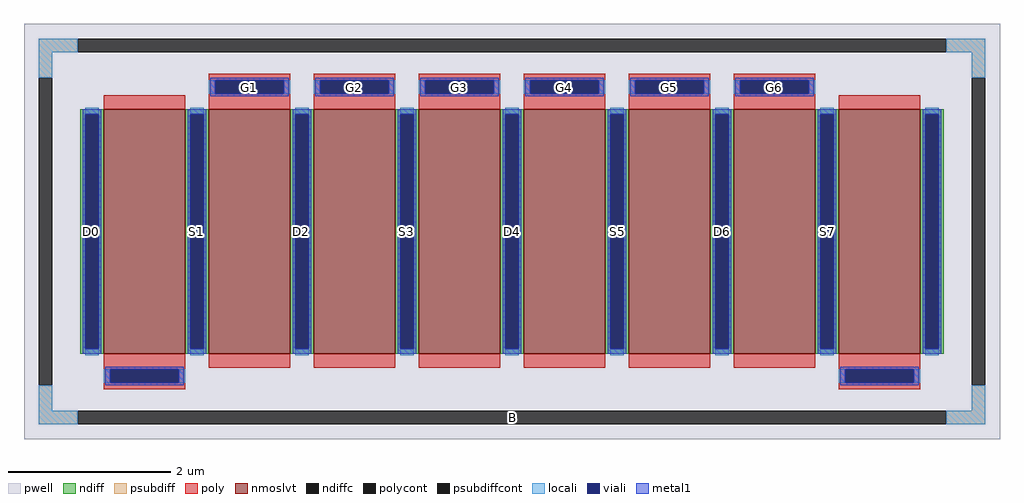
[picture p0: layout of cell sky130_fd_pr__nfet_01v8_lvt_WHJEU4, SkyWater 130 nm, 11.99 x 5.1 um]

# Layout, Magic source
magic
tech sky130A
magscale 1 2
<< pwell >>
rect -1199 -510 1199 510
<< nmoslvt >>
rect -1003 -300 -803 300
rect -745 -300 -545 300
rect -487 -300 -287 300
rect -229 -300 -29 300
rect 29 -300 229 300
rect 287 -300 487 300
rect 545 -300 745 300
rect 803 -300 1003 300
<< ndiff >>
rect -1061 288 -1003 300
rect -1061 -288 -1049 288
rect -1015 -288 -1003 288
rect -1061 -300 -1003 -288
rect -803 288 -745 300
rect -803 -288 -791 288
rect -757 -288 -745 288
rect -803 -300 -745 -288
rect -545 288 -487 300
rect -545 -288 -533 288
rect -499 -288 -487 288
rect -545 -300 -487 -288
rect -287 288 -229 300
rect -287 -288 -275 288
rect -241 -288 -229 288
rect -287 -300 -229 -288
rect -29 288 29 300
rect -29 -288 -17 288
rect 17 -288 29 288
rect -29 -300 29 -288
rect 229 288 287 300
rect 229 -288 241 288
rect 275 -288 287 288
rect 229 -300 287 -288
rect 487 288 545 300
rect 487 -288 499 288
rect 533 -288 545 288
rect 487 -300 545 -288
rect 745 288 803 300
rect 745 -288 757 288
rect 791 -288 803 288
rect 745 -300 803 -288
rect 1003 288 1061 300
rect 1003 -288 1015 288
rect 1049 -288 1061 288
rect 1003 -300 1061 -288
<< ndiffc >>
rect -1049 -288 -1015 288
rect -791 -288 -757 288
rect -533 -288 -499 288
rect -275 -288 -241 288
rect -17 -288 17 288
rect 241 -288 275 288
rect 499 -288 533 288
rect 757 -288 791 288
rect 1015 -288 1049 288
<< psubdiff >>
rect -1163 440 -1067 474
rect 1067 440 1163 474
rect -1163 378 -1129 440
rect 1129 378 1163 440
rect -1163 -440 -1129 -378
rect 1129 -440 1163 -378
rect -1163 -474 -1067 -440
rect 1067 -474 1163 -440
<< psubdiffcont >>
rect -1067 440 1067 474
rect -1163 -378 -1129 378
rect 1129 -378 1163 378
rect -1067 -474 1067 -440
<< poly >>
rect -745 372 -545 388
rect -745 338 -729 372
rect -561 338 -545 372
rect -1003 300 -803 335
rect -745 300 -545 338
rect -487 372 -287 388
rect -487 338 -471 372
rect -303 338 -287 372
rect -487 300 -287 338
rect -229 372 -29 388
rect -229 338 -213 372
rect -45 338 -29 372
rect -229 300 -29 338
rect 29 372 229 388
rect 29 338 45 372
rect 213 338 229 372
rect 29 300 229 338
rect 287 372 487 388
rect 287 338 303 372
rect 471 338 487 372
rect 287 300 487 338
rect 545 372 745 388
rect 545 338 561 372
rect 729 338 745 372
rect 545 300 745 338
rect 803 300 1003 335
rect -1003 -338 -803 -300
rect -745 -335 -545 -300
rect -487 -335 -287 -300
rect -229 -335 -29 -300
rect 29 -335 229 -300
rect 287 -335 487 -300
rect 545 -335 745 -300
rect -1003 -372 -987 -338
rect -819 -372 -803 -338
rect -1003 -388 -803 -372
rect 803 -338 1003 -300
rect 803 -372 819 -338
rect 987 -372 1003 -338
rect 803 -388 1003 -372
<< polycont >>
rect -729 338 -561 372
rect -471 338 -303 372
rect -213 338 -45 372
rect 45 338 213 372
rect 303 338 471 372
rect 561 338 729 372
rect -987 -372 -819 -338
rect 819 -372 987 -338
<< locali >>
rect -1163 440 -1067 474
rect 1067 440 1163 474
rect -1163 378 -1129 440
rect 1129 378 1163 440
rect -745 338 -729 372
rect -561 338 -545 372
rect -487 338 -471 372
rect -303 338 -287 372
rect -229 338 -213 372
rect -45 338 -29 372
rect 29 338 45 372
rect 213 338 229 372
rect 287 338 303 372
rect 471 338 487 372
rect 545 338 561 372
rect 729 338 745 372
rect -1049 288 -1015 304
rect -1049 -304 -1015 -288
rect -791 288 -757 304
rect -791 -304 -757 -288
rect -533 288 -499 304
rect -533 -304 -499 -288
rect -275 288 -241 304
rect -275 -304 -241 -288
rect -17 288 17 304
rect -17 -304 17 -288
rect 241 288 275 304
rect 241 -304 275 -288
rect 499 288 533 304
rect 499 -304 533 -288
rect 757 288 791 304
rect 757 -304 791 -288
rect 1015 288 1049 304
rect 1015 -304 1049 -288
rect -1003 -372 -987 -338
rect -819 -372 -803 -338
rect 803 -372 819 -338
rect 987 -372 1003 -338
rect -1163 -440 -1129 -378
rect 1129 -440 1163 -378
rect -1163 -474 -1067 -440
rect 1067 -474 1163 -440
<< viali >>
rect -729 338 -561 372
rect -471 338 -303 372
rect -213 338 -45 372
rect 45 338 213 372
rect 303 338 471 372
rect 561 338 729 372
rect -1049 -288 -1015 288
rect -791 -288 -757 288
rect -533 -288 -499 288
rect -275 -288 -241 288
rect -17 -288 17 288
rect 241 -288 275 288
rect 499 -288 533 288
rect 757 -288 791 288
rect 1015 -288 1049 288
rect -987 -372 -819 -338
rect 819 -372 987 -338
<< metal1 >>
rect -741 372 -549 378
rect -741 338 -729 372
rect -561 338 -549 372
rect -741 332 -549 338
rect -483 372 -291 378
rect -483 338 -471 372
rect -303 338 -291 372
rect -483 332 -291 338
rect -225 372 -33 378
rect -225 338 -213 372
rect -45 338 -33 372
rect -225 332 -33 338
rect 33 372 225 378
rect 33 338 45 372
rect 213 338 225 372
rect 33 332 225 338
rect 291 372 483 378
rect 291 338 303 372
rect 471 338 483 372
rect 291 332 483 338
rect 549 372 741 378
rect 549 338 561 372
rect 729 338 741 372
rect 549 332 741 338
rect -1055 288 -1009 300
rect -1055 -288 -1049 288
rect -1015 -288 -1009 288
rect -1055 -300 -1009 -288
rect -797 288 -751 300
rect -797 -288 -791 288
rect -757 -288 -751 288
rect -797 -300 -751 -288
rect -539 288 -493 300
rect -539 -288 -533 288
rect -499 -288 -493 288
rect -539 -300 -493 -288
rect -281 288 -235 300
rect -281 -288 -275 288
rect -241 -288 -235 288
rect -281 -300 -235 -288
rect -23 288 23 300
rect -23 -288 -17 288
rect 17 -288 23 288
rect -23 -300 23 -288
rect 235 288 281 300
rect 235 -288 241 288
rect 275 -288 281 288
rect 235 -300 281 -288
rect 493 288 539 300
rect 493 -288 499 288
rect 533 -288 539 288
rect 493 -300 539 -288
rect 751 288 797 300
rect 751 -288 757 288
rect 791 -288 797 288
rect 751 -300 797 -288
rect 1009 288 1055 300
rect 1009 -288 1015 288
rect 1049 -288 1055 288
rect 1009 -300 1055 -288
rect -999 -338 -807 -332
rect -999 -372 -987 -338
rect -819 -372 -807 -338
rect -999 -378 -807 -372
rect 807 -338 999 -332
rect 807 -372 819 -338
rect 987 -372 999 -338
rect 807 -378 999 -372
<< labels >>
rlabel psubdiffcont 0 -457 0 -457 0 B
port 1 nsew
rlabel ndiffc -1032 0 -1032 0 0 D0
port 2 nsew
rlabel ndiffc -774 0 -774 0 0 S1
port 4 nsew
rlabel polycont -645 355 -645 355 0 G1
port 5 nsew
rlabel ndiffc -516 0 -516 0 0 D2
port 6 nsew
rlabel polycont -387 355 -387 355 0 G2
port 7 nsew
rlabel ndiffc -258 0 -258 0 0 S3
port 8 nsew
rlabel polycont -129 355 -129 355 0 G3
port 9 nsew
rlabel ndiffc 0 0 0 0 0 D4
port 10 nsew
rlabel polycont 129 355 129 355 0 G4
port 11 nsew
rlabel ndiffc 258 0 258 0 0 S5
port 12 nsew
rlabel polycont 387 355 387 355 0 G5
port 13 nsew
rlabel ndiffc 516 0 516 0 0 D6
port 14 nsew
rlabel polycont 645 355 645 355 0 G6
port 15 nsew
rlabel ndiffc 774 0 774 0 0 S7
port 16 nsew
<< properties >>
string FIXED_BBOX -1146 -457 1146 457
string gencell sky130_fd_pr__nfet_01v8_lvt
string library sky130
string parameters w 3 l 1 m 1 nf 8 diffcov 100 polycov 100 guard 1 glc 1 grc 1 gtc 1 gbc 1 tbcov 100 rlcov 100 topc 1 botc 1 poverlap 0 doverlap 1 lmin 0.15 wmin 0.42 class mosfet compatible {sky130_fd_pr__nfet_01v8 sky130_fd_pr__nfet_01v8_lvt  sky130_fd_bs_flash__special_sonosfet_star  sky130_fd_pr__nfet_g5v0d10v5 sky130_fd_pr__nfet_05v0_nvt  sky130_fd_pr__nfet_03v3_nvt} full_metal 1 viasrc 100 viadrn 100 viagate 100 viagb 0 viagr 0 viagl 0 viagt 0 doports 1
<< end >>
